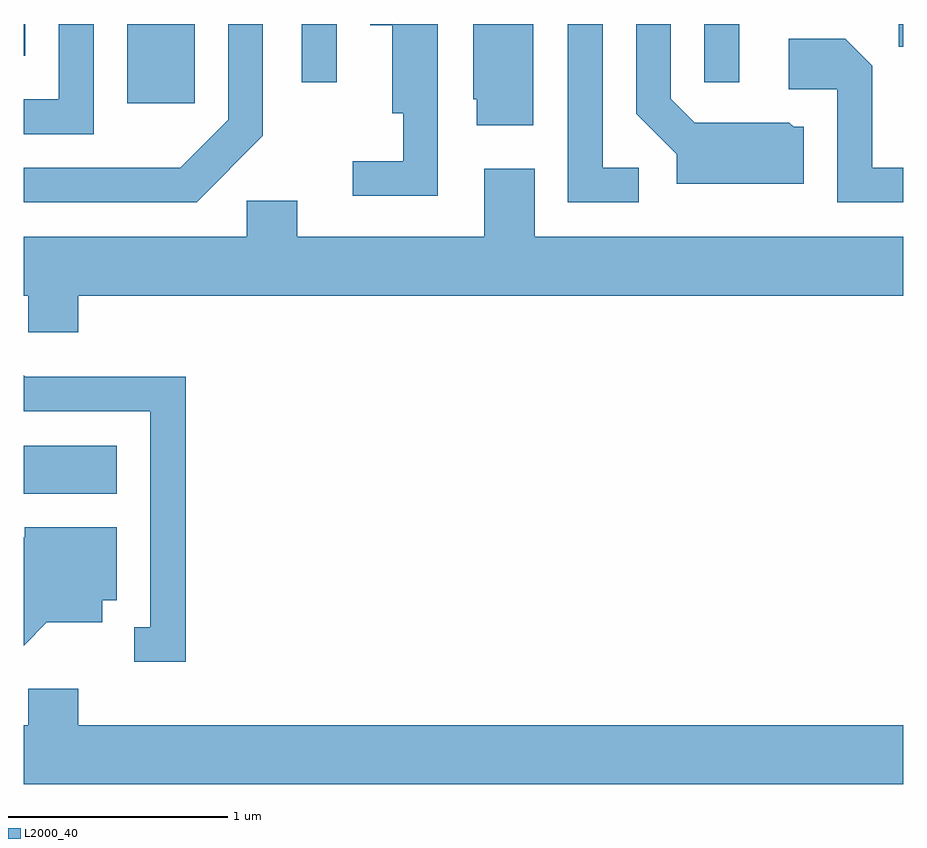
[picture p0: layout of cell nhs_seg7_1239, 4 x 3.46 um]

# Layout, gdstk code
import gdstk
lib = gdstk.Library(unit=1e-6, precision=1e-09)
def R(c, l, rs):  # rectangles x0, y0, x1, y1
    for r in rs: c.add(gdstk.rectangle(r[:2], r[2:], *l))
def P(c, l, *ps):  # polygons
    for p in ps: c.add(gdstk.Polygon(p, *l))
L2000_40 = (2000, 40)

nhs_seg7_1239 = lib.new_cell('nhs_seg7_1239')
R(nhs_seg7_1239, L2000_40, [(223.611,1680.116,224.034,1680.334), (224.081,1681.891,224.389,1682.252), (224.876,1681.988,225.034,1682.252), (226.706,1681.988,226.864,1682.252), (223.611,1682.108,223.619,1682.252), (227.591,1682.148,227.611,1682.252)])
P(nhs_seg7_1239, L2000_40, [(225.929,1682.252),(225.656,1682.252),(225.656,1681.91),(225.671,1681.91),(225.671,1681.791),(225.929,1681.791)],
  [(224.699,1681.744),(224.699,1682.252),(224.541,1682.252),(224.541,1681.817),(224.324,1681.599),(223.611,1681.599),(223.611,1681.441),(224.397,1681.441)],
  [(225.494,1682.252),(225.186,1682.252),(225.186,1682.246),(225.286,1682.246),(225.286,1681.846),(225.336,1681.846),(225.336,1681.629),(225.108,1681.629),(225.108,1681.471),(225.494,1681.471)],
  [(227.159,1681.784),(227.112,1681.784),(227.092,1681.804),(226.662,1681.804),(226.554,1681.912),(226.554,1682.252),(226.396,1682.252),(226.396,1681.844),(226.581,1681.659),(226.581,1681.526),(227.159,1681.526)],
  [(226.408,1681.599),(226.244,1681.599),(226.244,1682.252),(226.086,1682.252),(226.086,1681.441),(226.408,1681.441)],
  [(223.929,1682.252),(223.771,1682.252),(223.771,1681.909),(223.611,1681.909),(223.611,1681.751),(223.929,1681.751)],
  [(227.611,1681.599),(227.469,1681.599),(227.469,1682.062),(227.347,1682.184),(227.091,1682.184),(227.091,1681.956),(227.311,1681.956),(227.311,1681.441),(227.611,1681.441)],
  [(223.859,1681.016),(227.611,1681.016),(227.611,1681.284),(225.934,1681.284),(225.934,1681.594),(225.706,1681.594),(225.706,1681.284),(224.854,1681.284),(224.854,1681.449),(224.626,1681.449),(224.626,1681.284),(223.611,1681.284),(223.611,1681.016),(223.631,1681.016),(223.631,1680.851),(223.859,1680.851)],
  [(224.349,1680.649),(223.617,1680.649),(223.611,1680.655),(223.611,1680.491),(224.186,1680.491),(224.186,1679.509),(224.113,1679.509),(224.113,1679.351),(224.349,1679.351)],
  [(223.717,1679.531),(223.969,1679.531),(223.969,1679.631),(224.034,1679.631),(224.034,1679.964),(223.616,1679.964),(223.616,1679.919),(223.611,1679.919),(223.611,1679.425)],
  [(227.611,1679.064),(223.859,1679.064),(223.859,1679.229),(223.631,1679.229),(223.631,1679.064),(223.611,1679.064),(223.611,1678.796),(227.611,1678.796)])

lib.write_gds('nhs_seg7_1239.gds')
